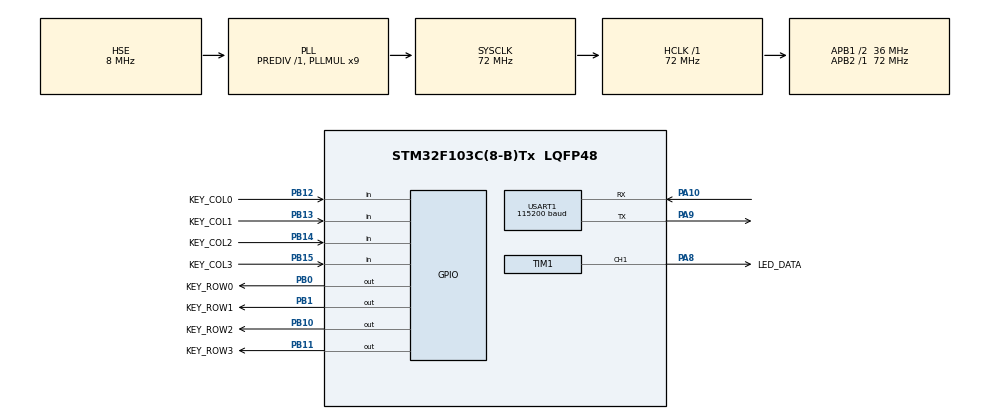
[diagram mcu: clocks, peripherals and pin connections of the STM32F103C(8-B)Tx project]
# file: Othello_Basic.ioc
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Dma.Request0=TIM1_CH1
Dma.TIM1_CH1.0.Direction=DMA_MEMORY_TO_PERIPH
Dma.TIM1_CH1.0.Instance=DMA1_Channel2
Dma.TIM1_CH1.0.MemDataAlignment=DMA_MDATAALIGN_HALFWORD
Dma.TIM1_CH1.0.MemInc=DMA_MINC_ENABLE
Dma.TIM1_CH1.0.Mode=DMA_NORMAL
Dma.TIM1_CH1.0.PeriphDataAlignment=DMA_PDATAALIGN_HALFWORD
Dma.TIM1_CH1.0.PeriphInc=DMA_PINC_DISABLE
Dma.TIM1_CH1.0.Priority=DMA_PRIORITY_HIGH
Mcu.Family=STM32F1
Mcu.Name=STM32F103C(8-B)Tx
Mcu.Package=LQFP48
NVIC.DMA1_Channel2_IRQn=true\:1\:0\:true\:false\:true\:true\:true
NVIC.PriorityGroup=NVIC_PRIORITYGROUP_4
NVIC.USART1_IRQn=true\:2\:0\:true\:false\:true\:true\:true
PA10.Mode=Asynchronous
PA10.Signal=USART1_RX
PA13.Mode=Serial_Wire
PA13.Signal=SYS_JTMS-SWDIO
PA14.Mode=Serial_Wire
PA14.Signal=SYS_JTCK-SWCLK
PA8.GPIO_Label=LED_DATA
PA8.GPIO_Speed=GPIO_SPEED_FREQ_HIGH
PA8.Signal=S_TIM1_CH1
PA9.Mode=Asynchronous
PA9.Signal=USART1_TX
PB0.GPIO_Label=KEY_ROW0
PB0.GPIO_ModeDefaultOutputPP=GPIO_MODE_OUTPUT_OD
PB0.GPIO_PuPd=GPIO_NOPULL
PB0.GPIO_Speed=GPIO_SPEED_FREQ_LOW
PB0.PinState=GPIO_PIN_SET
PB0.Signal=GPIO_Output
PB1.GPIO_Label=KEY_ROW1
PB1.GPIO_ModeDefaultOutputPP=GPIO_MODE_OUTPUT_OD
PB1.GPIO_PuPd=GPIO_NOPULL
PB1.GPIO_Speed=GPIO_SPEED_FREQ_LOW
PB1.PinState=GPIO_PIN_SET
PB1.Signal=GPIO_Output
PB10.GPIO_Label=KEY_ROW2
PB10.GPIO_ModeDefaultOutputPP=GPIO_MODE_OUTPUT_OD
PB10.GPIO_PuPd=GPIO_NOPULL
PB10.GPIO_Speed=GPIO_SPEED_FREQ_LOW
PB10.PinState=GPIO_PIN_SET
PB10.Signal=GPIO_Output
PB11.GPIO_Label=KEY_ROW3
PB11.GPIO_ModeDefaultOutputPP=GPIO_MODE_OUTPUT_OD
PB11.GPIO_PuPd=GPIO_NOPULL
PB11.GPIO_Speed=GPIO_SPEED_FREQ_LOW
PB11.PinState=GPIO_PIN_SET
PB11.Signal=GPIO_Output
PB12.GPIO_Label=KEY_COL0
PB12.GPIO_PuPd=GPIO_PULLUP
PB12.Signal=GPIO_Input
PB13.GPIO_Label=KEY_COL1
PB13.GPIO_PuPd=GPIO_PULLUP
PB13.Signal=GPIO_Input
PB14.GPIO_Label=KEY_COL2
PB14.GPIO_PuPd=GPIO_PULLUP
PB14.Signal=GPIO_Input
PB15.GPIO_Label=KEY_COL3
PB15.GPIO_PuPd=GPIO_PULLUP
PB15.Signal=GPIO_Input
PD0-OSC_IN.Mode=HSE-External-Oscillator
PD0-OSC_IN.Signal=RCC_OSC_IN
PD1-OSC_OUT.Mode=HSE-External-Oscillator
PD1-OSC_OUT.Signal=RCC_OSC_OUT
ProjectManager.HeapSize=0x200
ProjectManager.StackSize=0x800
ProjectManager.TargetToolchain=MDK-ARM V5
RCC.ADCPresc=RCC_ADCPCLK2_DIV6
RCC.AHBFreq_Value=72000000
RCC.APB1CLKDivider=RCC_HCLK_DIV2
RCC.APB1Freq_Value=36000000
RCC.APB1TimFreq_Value=72000000
RCC.APB2CLKDivider=RCC_HCLK_DIV1
RCC.APB2Freq_Value=72000000
RCC.APB2TimFreq_Value=72000000
RCC.HCLKFreq_Value=72000000
RCC.HSE_VALUE=8000000
RCC.PLLMUL=RCC_PLL_MUL9
RCC.PLLSourceVirtual=RCC_PLLSOURCE_HSE
RCC.SYSCLKFreq_VALUE=72000000
RCC.SYSCLKSource=RCC_SYSCLKSOURCE_PLLCLK
RCC.USBFreq_Value=72000000
SH.S_TIM1_CH1.0=TIM1_CH1,PWM Generation1 CH1
TIM1.AutoReloadPreload=TIM_AUTORELOAD_PRELOAD_ENABLE
TIM1.Channel-PWM\ Generation1\ CH1=TIM_CHANNEL_1
TIM1.Period=89
TIM1.Prescaler=0
TIM1.Pulse-PWM\ Generation1\ CH1=0
USART1.BaudRate=115200
USART1.Parity=PARITY_NONE
USART1.StopBits=STOPBITS_1
USART1.VirtualMode=VM_ASYNC
USART1.WordLength=WORDLENGTH_8B
VP_TIM1_VS_ClockSourceINT.Mode=Internal
board=custom

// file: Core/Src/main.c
/* USER CODE BEGIN Header */
/**
  ******************************************************************************
  * @file           : main.c
  * @brief          : Main program body
  ******************************************************************************
  * @attention
  *
  * <h2><center>&copy; Copyright (c) 2026 STMicroelectronics.
  * All rights reserved.</center></h2>
  *
  * This software component is licensed by ST under BSD 3-Clause license,
  * the "License"; You may not use this file except in compliance with the
  * License. You may obtain a copy of the License at:
  *                        opensource.org/licenses/BSD-3-Clause
  *
  ******************************************************************************
  */
/* USER CODE END Header */
#include "main.h"
#include "dma.h"
#include "tim.h"
#include "usart.h"
#include "gpio.h"

/* USER CODE BEGIN Includes */
#include "app_basic.h"
#include "app_platform.h"
#include "ot_protocol.h"
/* USER CODE END Includes */

/* USER CODE BEGIN PV */
static char pending_frame[OT_LINE_MAX];
static uint8_t frame_pending;
/* USER CODE END PV */

void SystemClock_Config(void);

int main(void)
{
  /* USER CODE BEGIN 1 */
  AppBasicPorts ports;
  /* USER CODE END 1 */

  /* MCU Configuration--------------------------------------------------------*/

  /* Reset of all peripherals, Initializes the Flash interface and the Systick. */
  HAL_Init();

  /* Configure the system clock */
  SystemClock_Config();

  /* Initialize all configured peripherals */
  MX_GPIO_Init();
  MX_DMA_Init();
  MX_TIM1_Init();
  MX_USART1_UART_Init();
  /* USER CODE BEGIN 2 */
  ports.can_send = AppPlatform_CanSend;
  ports.send = AppPlatform_Send;
  ports.render = AppPlatform_Render;
  ports.context = 0;
  AppPlatform_Init();
  AppBasic_Init(&ports);
  frame_pending = 0u;
  /* USER CODE END 2 */

  /* Infinite loop */
  while (1)
  {

    /* USER CODE BEGIN 3 */
    uint32_t now = HAL_GetTick();
    uint8_t key;

    /* Settle the timer before accepting any command at the time limit. */
    AppPlatform_Tick(now);
    AppBasic_Tick(now);
    if (!frame_pending)
      frame_pending = AppPlatform_ReadFrame(pending_frame, sizeof(pending_frame));
    if (frame_pending && AppBasic_ProcessFrame(pending_frame))
      frame_pending = 0u;
    key = AppPlatform_TakeKey();
    if (key) AppBasic_HandleKey(key);
    /* SysTick/UART/DMA wake the scheduler; no blocking display or serial writes. */
    __WFI();
  }
  /* USER CODE END 3 */
}

void SystemClock_Config(void)
{
  RCC_OscInitTypeDef RCC_OscInitStruct = {0};
  RCC_ClkInitTypeDef RCC_ClkInitStruct = {0};

  /** Initializes the RCC Oscillators according to the specified parameters
  * in the RCC_OscInitTypeDef structure.
  */
  RCC_OscInitStruct.OscillatorType = RCC_OSCILLATORTYPE_HSE;
  RCC_OscInitStruct.HSEState = RCC_HSE_ON;
  RCC_OscInitStruct.HSEPredivValue = RCC_HSE_PREDIV_DIV1;
  RCC_OscInitStruct.HSIState = RCC_HSI_ON;
  RCC_OscInitStruct.PLL.PLLState = RCC_PLL_ON;
  RCC_OscInitStruct.PLL.PLLSource = RCC_PLLSOURCE_HSE;
  RCC_OscInitStruct.PLL.PLLMUL = RCC_PLL_MUL9;
  if (HAL_RCC_OscConfig(&RCC_OscInitStruct) != HAL_OK)
  {
    Error_Handler();
  }
  /** Initializes the CPU, AHB and APB buses clocks
  */
  RCC_ClkInitStruct.ClockType = RCC_CLOCKTYPE_HCLK|RCC_CLOCKTYPE_SYSCLK
                              |RCC_CLOCKTYPE_PCLK1|RCC_CLOCKTYPE_PCLK2;
  RCC_ClkInitStruct.SYSCLKSource = RCC_SYSCLKSOURCE_PLLCLK;
  RCC_ClkInitStruct.AHBCLKDivider = RCC_SYSCLK_DIV1;
  RCC_ClkInitStruct.APB1CLKDivider = RCC_HCLK_DIV2;
  RCC_ClkInitStruct.APB2CLKDivider = RCC_HCLK_DIV1;

  if (HAL_RCC_ClockConfig(&RCC_ClkInitStruct, FLASH_LATENCY_2) != HAL_OK)
  {
    Error_Handler();
  }
}

/* USER CODE BEGIN 4 */
/* Single callback ownership: extensions register app observers, not duplicate HAL symbols. */
void HAL_UART_RxCpltCallback(UART_HandleTypeDef *uart) { AppPlatform_UartRxIRQ(uart); }
void HAL_UART_TxCpltCallback(UART_HandleTypeDef *uart) { AppPlatform_UartTxIRQ(uart); }
void HAL_UART_ErrorCallback(UART_HandleTypeDef *uart) { AppPlatform_UartErrorIRQ(uart); }
void HAL_TIM_PWM_PulseFinishedCallback(TIM_HandleTypeDef *timer) { AppPlatform_PwmDoneIRQ(timer); }
void HAL_TIM_ErrorCallback(TIM_HandleTypeDef *timer) { AppPlatform_PwmErrorIRQ(timer); }
/* USER CODE END 4 */

void Error_Handler(void)
{
  __disable_irq();
  while (1)
  {
  }
}

/************************ (C) COPYRIGHT STMicroelectronics *****END OF FILE****/
